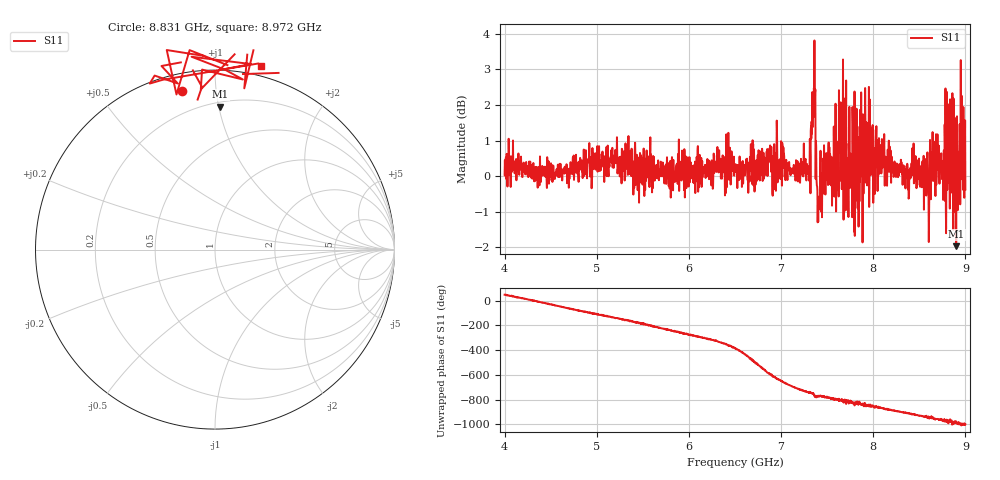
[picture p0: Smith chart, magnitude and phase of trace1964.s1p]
! Created with skrf 1.8.0 (http://scikit-rf.org).
# Hz S RI R 50.0
!freq ReS11 ImS11
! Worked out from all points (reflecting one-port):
!   1601 points, 4 GHz to 9 GHz, reference 50 ohm
!   lowest |S11| = -2.0 dB at 8.9 GHz (marker M1), VSWR 8.89, Z = 11.5 + j50.6 ohm
!   phase of S11 starts at 48 deg and turns -1049 deg over the sweep
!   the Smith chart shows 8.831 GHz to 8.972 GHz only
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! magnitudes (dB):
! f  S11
! 4 GHz  0.0
! 4.625 GHz  -0.1
! 5.25 GHz  0.0
! 5.875 GHz  0.4
! 6.5 GHz  0.3
! 6.738 GHz  -0.1
! 6.869 GHz  0.5
! 7.125 GHz  0.2
! 7.294 GHz  0.1
! 7.347 GHz  1.8
! 7.369 GHz  2.3
! 7.4 GHz  -0.8
! 7.419 GHz  -0.9
! 7.509 GHz  -0.2
! 7.6 GHz  0.1
! 7.65 GHz  1.9
! 7.75 GHz  -0.3
! 7.825 GHz  0.9
! 7.928 GHz  1.4
! 8.375 GHz  0.0
! 8.438 GHz  0.9
! 8.6 GHz  -0.6
! 8.656 GHz  0.9
! 8.769 GHz  0.0
! 8.819 GHz  0.7
! 8.9 GHz  -2.0
! 8.972 GHz  0.5
! 9 GHz  -0.4
